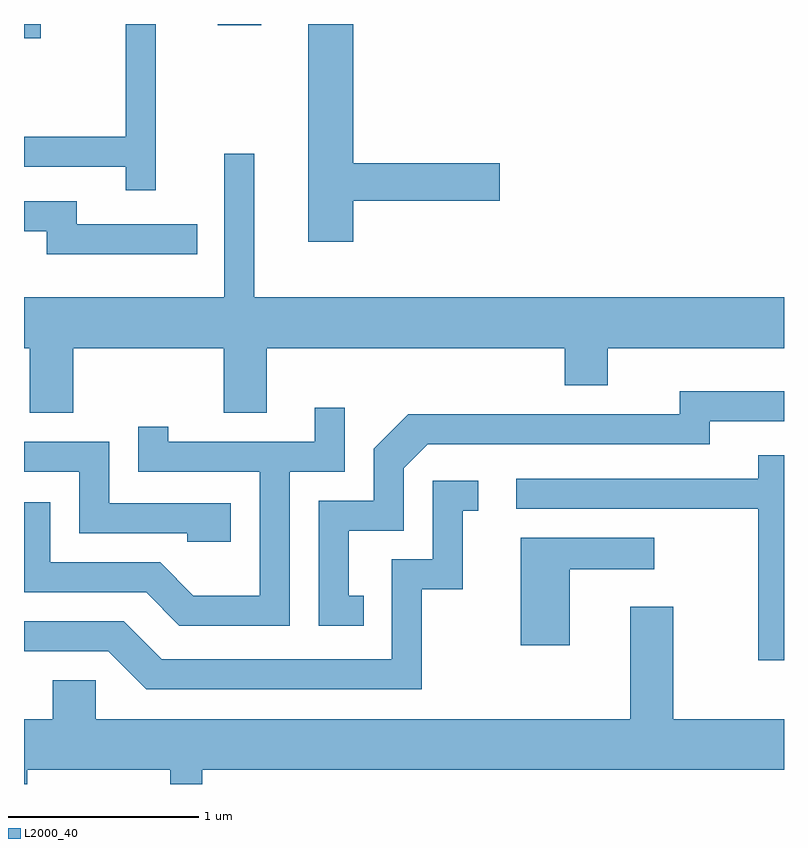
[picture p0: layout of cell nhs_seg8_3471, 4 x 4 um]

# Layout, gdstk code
import gdstk
lib = gdstk.Library(unit=1e-6, precision=1e-09)
def R(c, l, rs):  # rectangles x0, y0, x1, y1
    for r in rs: c.add(gdstk.rectangle(r[:2], r[2:], *l))
def P(c, l, *ps):  # polygons
    for p in ps: c.add(gdstk.Polygon(p, *l))
L2000_40 = (2000, 40)

nhs_seg8_3471 = lib.new_cell('nhs_seg8_3471')
R(nhs_seg8_3471, L2000_40, [(289.611,1840.266,289.699,1840.342), (290.631,1840.336,290.859,1840.342)])
P(nhs_seg8_3471, L2000_40, [(291.344,1839.411),(292.114,1839.411),(292.114,1839.609),(291.344,1839.609),(291.344,1840.342),(291.106,1840.342),(291.106,1839.196),(291.344,1839.196)],
  [(290.304,1840.342),(290.146,1840.342),(290.146,1839.749),(289.611,1839.749),(289.611,1839.591),(290.146,1839.591),(290.146,1839.468),(290.304,1839.468)],
  [(289.869,1838.636),(290.661,1838.636),(290.661,1838.296),(290.889,1838.296),(290.889,1838.636),(292.456,1838.636),(292.456,1838.441),(292.684,1838.441),(292.684,1838.636),(293.611,1838.636),(293.611,1838.904),(290.824,1838.904),(290.824,1839.658),(290.666,1839.658),(290.666,1838.904),(289.611,1838.904),(289.611,1838.636),(289.641,1838.636),(289.641,1838.296),(289.869,1838.296)],
  [(290.523,1839.289),(289.889,1839.289),(289.889,1839.409),(289.611,1839.409),(289.611,1839.251),(289.731,1839.251),(289.731,1839.131),(290.523,1839.131)],
  [(291.398,1837.334),(291.319,1837.334),(291.319,1837.676),(291.609,1837.676),(291.609,1838.004),(291.737,1838.131),(293.219,1838.131),(293.219,1838.251),(293.611,1838.251),(293.611,1838.409),(293.061,1838.409),(293.061,1838.289),(291.634,1838.289),(291.451,1838.107),(291.451,1837.834),(291.161,1837.834),(291.161,1837.176),(291.398,1837.176)],
  [(291.009,1837.986),(291.299,1837.986),(291.299,1838.323),(291.141,1838.323),(291.141,1838.144),(290.369,1838.144),(290.369,1838.223),(290.211,1838.223),(290.211,1837.986),(290.851,1837.986),(290.851,1837.334),(290.502,1837.334),(290.327,1837.509),(289.749,1837.509),(289.749,1837.824),(289.611,1837.824),(289.611,1837.351),(290.254,1837.351),(290.429,1837.176),(291.009,1837.176)],
  [(290.699,1837.819),(290.059,1837.819),(290.059,1838.144),(289.611,1838.144),(289.611,1837.986),(289.901,1837.986),(289.901,1837.661),(290.471,1837.661),(290.471,1837.616),(290.699,1837.616)],
  [(293.611,1838.073),(293.476,1838.073),(293.476,1837.949),(292.203,1837.949),(292.203,1837.791),(293.476,1837.791),(293.476,1836.993),(293.611,1836.993)],
  [(291.704,1837.366),(291.919,1837.366),(291.919,1837.781),(292.003,1837.781),(292.003,1837.939),(291.761,1837.939),(291.761,1837.524),(291.546,1837.524),(291.546,1836.999),(290.337,1836.999),(290.137,1837.199),(289.611,1837.199),(289.611,1837.041),(290.054,1837.041),(290.254,1836.841),(291.704,1836.841)],
  [(292.484,1837.471),(292.928,1837.471),(292.928,1837.639),(292.226,1837.639),(292.226,1837.071),(292.484,1837.071)],
  [(289.629,1836.416),(290.381,1836.416),(290.381,1836.342),(290.549,1836.342),(290.549,1836.416),(293.611,1836.416),(293.611,1836.684),(293.029,1836.684),(293.029,1837.274),(292.801,1837.274),(292.801,1836.684),(289.989,1836.684),(289.989,1836.889),(289.761,1836.889),(289.761,1836.684),(289.611,1836.684),(289.611,1836.342),(289.629,1836.342)])

lib.write_gds('nhs_seg8_3471.gds')
